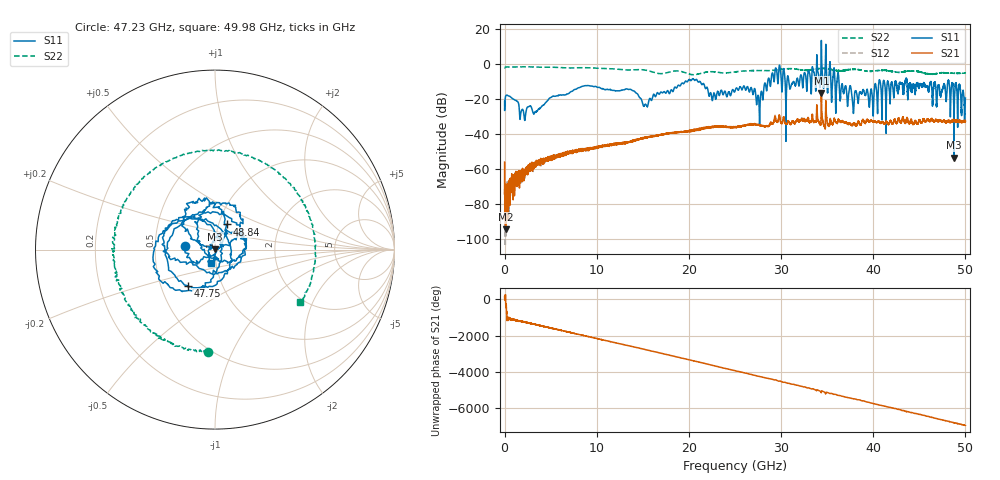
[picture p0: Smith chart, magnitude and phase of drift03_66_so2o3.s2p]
!Created with skrf (http://scikit-rf.org).
# Hz S RI R 50.0
!freq ReS11 ImS11 ReS21 ImS21 ReS12 ImS12 ReS22 ImS22
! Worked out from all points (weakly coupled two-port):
!   10001 points, 300 kHz to 50 GHz, reference 50 ohm
!   highest |S21| = -16.52 dB at 34.37 GHz (marker M1); lowest = -94.2 dB at 110.3 MHz (marker M2)
!   lowest |S11| = -53.4 dB at 48.77 GHz (marker M3), VSWR 1.00, Z = 50.2 + j0.138 ohm
!   |S11| at or under -10 dB: start of sweep to 19.55 GHz; 21.25 GHz to 28.55 GHz (7.298 GHz wide, 29.3 % of centre); 36.28 GHz to 40.61 GHz (4.331 GHz wide, 11.3 % of centre) (the widest 3 of 34)
!   |S22| runs from -5.9 to -1.3 dB; largest |S21 - S12| = 0.027
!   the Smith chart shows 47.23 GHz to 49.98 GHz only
!   S11 on the Smith chart (normalised r, x): 47.23 GHz: 0.71, +0.03; 47.75 GHz: 0.68, -0.29; 48.84 GHz: 1.09, +0.31; 49.98 GHz: 0.95, -0.14
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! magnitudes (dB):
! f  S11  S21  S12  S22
! 300 kHz  -21.2  -55.8  -71.3  -2.1
! 110.3 MHz  -18.1  -94.2  -71.1  -1.5
! 3.3 GHz  -27.3  -58.7  -56.4  -1.5
! 8.335 GHz  -12.6  -48.8  -49.1  -1.9
! 15.28 GHz  -22.8  -41.8  -41.8  -3.3
! 16.67 GHz  -16.5  -40.5  -40.7  -5.2
! 20.27 GHz  -9.1  -38.2  -37.9  -5.8
! 22.71 GHz  -16.4  -35.8  -35.6  -4.2
! 25 GHz  -15.3  -35.5  -35.9  -4.3
! 27.52 GHz  -17.8  -34.5  -34.4  -3.5
! 29.28 GHz  -8.5  -31.1  -30.6  -3.3
! 30.73 GHz  -6.6  -32.5  -32.5  -2.5
! 33.34 GHz  -7.4  -31.0  -31.2  -2.9
! 34.37 GHz  13.7  -16.5  -17.8  -2.3
! 37.87 GHz  -27.8  -33.6  -34.1  -2.8
! 41.67 GHz  -11.4  -34.1  -34.1  -3.7
! 47.23 GHz  -15.4  -31.9  -31.9  -4.8
! 47.75 GHz  -11.9  -32.6  -32.3  -4.8
! 48.77 GHz  -53.4  -32.1  -32.5  -5.1
! 48.84 GHz  -16.2  -32.3  -32.2  -5.1
! 49.98 GHz  -22.2  -33.0  -33.1  -5.1
! 50 GHz  -19.2  -32.5  -32.9  -5.0
